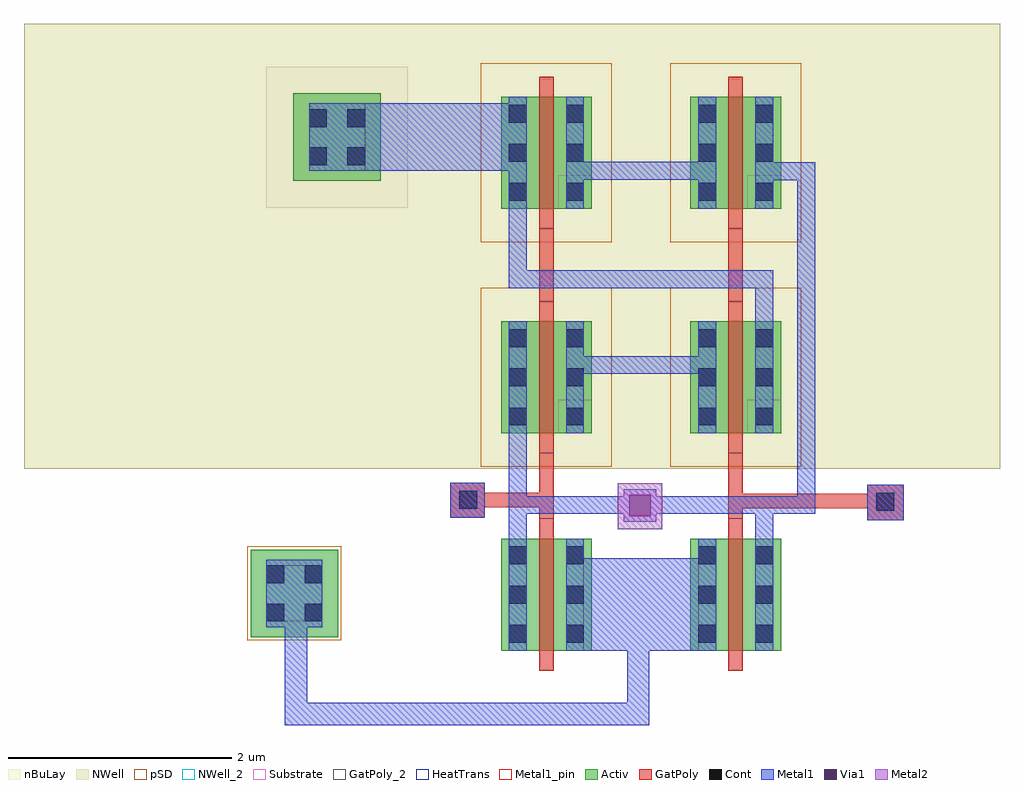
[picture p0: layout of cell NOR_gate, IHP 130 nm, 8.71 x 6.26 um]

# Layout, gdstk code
import gdstk
lib = gdstk.Library(unit=1e-6, precision=1e-09)
def R(c, l, rs):  # rectangles x0, y0, x1, y1
    for r in rs: c.add(gdstk.rectangle(r[:2], r[2:], *l))
def A(c, l, x, y, w, h, nx, ny, dx, dy):  # array of equal rectangles
    R(c, l, [(x+i*dx, y+j*dy, x+i*dx+w, y+j*dy+h) for i in range(nx) for j in range(ny)])
def P(c, l, *ps):  # polygons
    for p in ps: c.add(gdstk.Polygon(p, *l))
Activ = (1, 0)
GatPoly = (5, 0)
GatPoly_2 = (5, 2)
Cont = (6, 0)
Metal1 = (8, 0)
Metal1_pin = (8, 2)
Metal2 = (10, 0)
pSD = (14, 0)
Via1 = (19, 0)
NWell = (31, 0)
NWell_2 = (31, 2)
nBuLay = (32, 0)
Substrate = (40, 0)
HeatTrans = (51, 0)

nmos_1 = lib.new_cell('nmos$1')
R(nmos_1, Activ, [(0,0,0.3,0.3), (0,0,0.81,1), (0.51,0,0.81,0.3)])
R(nmos_1, GatPoly, [(0.34,-0.18,0.47,1.18)])
R(nmos_1, GatPoly_2, [(0.34,-0.18,0.47,1.18)])
A(nmos_1, Cont, 0.07, 0.07, 0.16, 0.16, 1, 3, 0, 0.35)
A(nmos_1, Cont, 0.58, 0.07, 0.16, 0.16, 1, 3, 0, 0.35)
R(nmos_1, Metal1, [(0.07,0,0.23,1), (0.58,0,0.74,1)])
R(nmos_1, Metal1_pin, [(0.07,0,0.23,1), (0.58,0,0.74,1)])
R(nmos_1, HeatTrans, [(0.34,-0.18,0.47,1.18)])
nmos_1.add(gdstk.Label('nmos', (0.405,0.5), layer=63, texttype=0))
nmos_1.add(gdstk.Label('nmos', (0.405,0.5), layer=51, texttype=0))

pmos_1_1 = lib.new_cell('pmos$1$1')
R(pmos_1_1, Activ, [(0,0,0.3,0.3), (0,0,0.81,1), (0.51,0,0.81,0.3)])
R(pmos_1_1, GatPoly, [(0.34,-0.18,0.47,1.18), (0.34,-0.18,0.47,1.18)])
A(pmos_1_1, Cont, 0.07, 0.07, 0.16, 0.16, 1, 3, 0, 0.35)
A(pmos_1_1, Cont, 0.58, 0.07, 0.16, 0.16, 1, 3, 0, 0.35)
R(pmos_1_1, Metal1, [(0.07,0,0.23,1), (0.07,0,0.23,1), (0.58,0,0.74,1), (0.58,0,0.74,1)])
R(pmos_1_1, pSD, [(-0.18,-0.3,0.99,1.3)])
R(pmos_1_1, NWell, [(-0.31,-0.31,1.12,1.31)])
R(pmos_1_1, Substrate, [(0.51,0,0.81,0.3)])
R(pmos_1_1, HeatTrans, [(0.34,-0.18,0.47,1.18)])
pmos_1_1.add(gdstk.Label('pmos', (0.405,0.5), layer=63, texttype=0))
pmos_1_1.add(gdstk.Label('pmos', (0.405,0.5), layer=51, texttype=0))

ntap1_1_1 = lib.new_cell('ntap1$1$1')
R(ntap1_1_1, Activ, [(0,0,0.78,0.78)])
R(ntap1_1_1, Cont, [(0.14,0.14,0.3,0.3), (0.48,0.14,0.64,0.3), (0.14,0.48,0.3,0.64), (0.48,0.48,0.64,0.64)])
R(ntap1_1_1, Metal1, [(0.14,0.09,0.64,0.69)])
R(ntap1_1_1, Metal1_pin, [(0.14,0.09,0.64,0.69), (0.14,0.14,0.64,0.64)])
R(ntap1_1_1, NWell, [(-0.24,-0.24,1.02,1.02), (0,0,0.78,0.78)])
R(ntap1_1_1, NWell_2, [(0,0,0.78,0.78)])
R(ntap1_1_1, nBuLay, [(-0.24,-0.24,1.02,1.02)])

ptap1_1_1 = lib.new_cell('ptap1$1$1')
R(ptap1_1_1, Activ, [(0,0,0.78,0.78)])
R(ptap1_1_1, Cont, [(0.14,0.14,0.3,0.3), (0.48,0.14,0.64,0.3), (0.14,0.48,0.3,0.64), (0.48,0.48,0.64,0.64)])
R(ptap1_1_1, Metal1, [(0.14,0.09,0.64,0.69), (0.14,0.14,0.64,0.64)])
R(ptap1_1_1, Metal1_pin, [(0.14,0.14,0.64,0.64)])
R(ptap1_1_1, pSD, [(-0.03,-0.03,0.81,0.81)])
R(ptap1_1_1, Substrate, [(0,0,0.78,0.78)])

via_stack_1_1 = lib.new_cell('via_stack$1$1')
R(via_stack_1_1, Metal1, [(-0.145,-0.145,0.145,0.145)])
R(via_stack_1_1, Metal2, [(-0.145,-0.145,0.145,0.145)])
R(via_stack_1_1, Via1, [(-0.095,-0.095,0.095,0.095)])

nor_gate = lib.new_cell('NOR_gate')
P(nor_gate, GatPoly, [(0,1.16),(0,1.475),(0.31,1.475),(0.31,1.385),(0.86,1.385),(0.86,1.255),(0.31,1.255),(0.31,1.16)],
  [(3.725,1.14),(3.725,1.245),(2.55,1.245),(2.55,1.375),(3.725,1.375),(3.725,1.455),(4.05,1.455),(4.05,1.14)])
R(nor_gate, Cont, [(3.805,1.225,3.965,1.385), (0.08,1.24,0.24,1.4)])
R(nor_gate, Metal1, [(0.525,-0.025,0.685,2.06), (3.725,1.14,4.05,1.455), (0,1.16,0.31,1.475), (-0.885,4.26,0.625,4.86)])
P(nor_gate, Metal1, [(0.525,0.745),(0.525,1.355),(1.55,1.355),(1.55,1.195),(0.67,1.195),(0.67,0.745)],
  [(2.725,2),(2.725,3.21),(0.525,3.21),(0.525,4.025),(0.685,4.025),(0.685,3.37),(2.885,3.37),(2.885,2)],
  [(2.725,0.745),(2.725,1.195),(1.84,1.195),(1.84,1.355),(3.1,1.355),(3.1,4.175),(2.725,4.175),(2.725,4.335),(3.26,4.335),(3.26,1.195),(2.885,1.195),(2.885,0.745)],
  [(-1.475,-0.69),(-1.475,0.45),(-1.275,0.45),(-1.275,-0.49),(1.58,-0.49),(1.58,-0.025),(1.105,-0.025),(1.105,0.8),(2.315,0.8),(2.315,-0.025),(1.78,-0.025),(1.78,-0.69)])
R(nor_gate, Metal2, [(1.495,1.06,1.895,1.47), (1.55,1.125,1.84,1.415)])
R(nor_gate, NWell, [(-3.805,1.6,4.91,5.57)])
nor_gate.add(gdstk.FlexPath([(1.035,4.26),(2.375,4.26)], 0.16, ends="flush", simple_path=True, layer=8, datatype=0))  # Metal1
nor_gate.add(gdstk.FlexPath([(1.035,2.525),(2.375,2.525)], 0.16, ends="flush", simple_path=True, layer=8, datatype=0))  # Metal1
nor_gate.add(gdstk.FlexPath([(0.86,4.915),(0.86,-0.205)], 0.13, ends="flush", simple_path=True, layer=5, datatype=0))  # GatPoly
nor_gate.add(gdstk.FlexPath([(2.55,4.915),(2.55,-0.205)], 0.13, ends="flush", simple_path=True, layer=5, datatype=0))  # GatPoly
nor_gate.add(gdstk.Reference(nmos_1, (0.455,-0.025)))
nor_gate.add(gdstk.Reference(nmos_1, (2.145,-0.025)))
nor_gate.add(gdstk.Reference(pmos_1_1, (0.455,3.92)))
nor_gate.add(gdstk.Reference(pmos_1_1, (0.455,1.915)))
nor_gate.add(gdstk.Reference(pmos_1_1, (2.145,3.92)))
nor_gate.add(gdstk.Reference(pmos_1_1, (2.145,1.915)))
nor_gate.add(gdstk.Reference(ntap1_1_1, (-1.4,4.17)))
nor_gate.add(gdstk.Reference(ptap1_1_1, (-1.78,0.095)))
nor_gate.add(gdstk.Reference(via_stack_1_1, (1.695,1.27)))

lib.write_gds('NOR_gate.gds')
